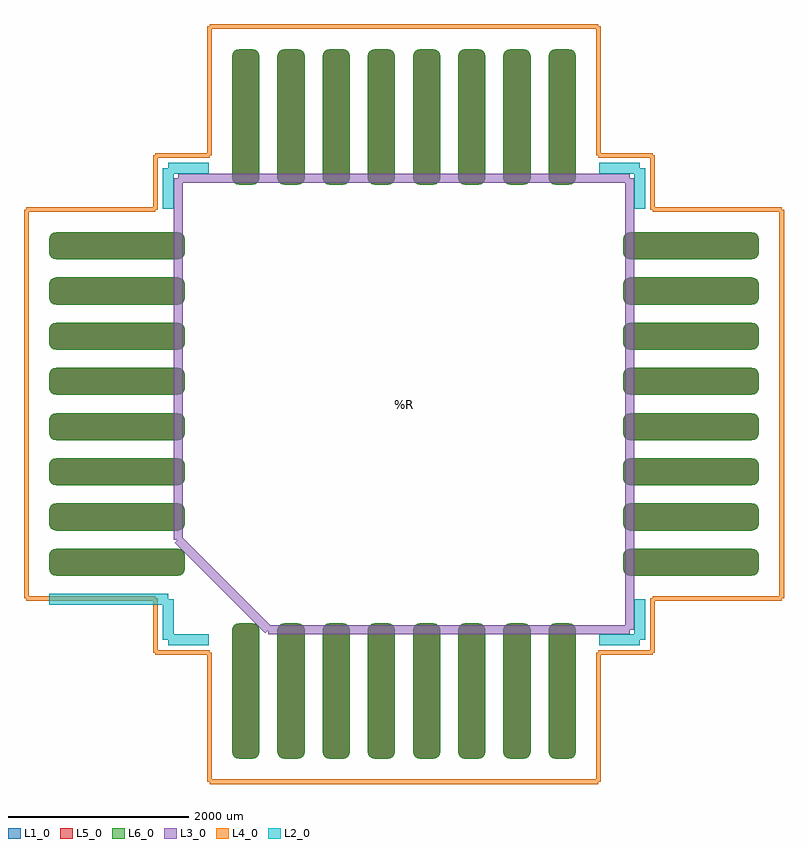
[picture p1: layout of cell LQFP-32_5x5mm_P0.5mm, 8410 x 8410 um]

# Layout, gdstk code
import gdstk
lib = gdstk.Library(unit=1e-6, precision=1e-09)
def P(c, l, *ps):  # polygons
    for p in ps: c.add(gdstk.Polygon(p, *l))
L1_0 = (1, 0)
L2_0 = (2, 0)
L3_0 = (3, 0)
L4_0 = (4, 0)
L5_0 = (5, 0)
L6_0 = (6, 0)

lqfp_32_5x5mm_p0_5mm = lib.new_cell('LQFP-32_5x5mm_P0.5mm')
P(lqfp_32_5x5mm_p0_5mm, L1_0, [(-2500,-1900),(-2471,-1894),(-2447,-1878),(-2431,-1854),(-2425,-1825),(-2425,-1675),(-2431,-1646),(-2447,-1622),(-2471,-1606),(-2500,-1600),(-3850,-1600),(-3879,-1606),(-3903,-1622),(-3919,-1646),(-3925,-1675),(-3925,-1825),(-3919,-1854),(-3903,-1878),(-3879,-1894),(-3850,-1900)],
  [(-2500,-1400),(-2471,-1394),(-2447,-1378),(-2431,-1354),(-2425,-1325),(-2425,-1175),(-2431,-1146),(-2447,-1122),(-2471,-1106),(-2500,-1100),(-3850,-1100),(-3879,-1106),(-3903,-1122),(-3919,-1146),(-3925,-1175),(-3925,-1325),(-3919,-1354),(-3903,-1378),(-3879,-1394),(-3850,-1400)],
  [(-2500,-900),(-2471,-894),(-2447,-878),(-2431,-854),(-2425,-825),(-2425,-675),(-2431,-646),(-2447,-622),(-2471,-606),(-2500,-600),(-3850,-600),(-3879,-606),(-3903,-622),(-3919,-646),(-3925,-675),(-3925,-825),(-3919,-854),(-3903,-878),(-3879,-894),(-3850,-900)],
  [(-2500,-400),(-2471,-394),(-2447,-378),(-2431,-354),(-2425,-325),(-2425,-175),(-2431,-146),(-2447,-122),(-2471,-106),(-2500,-100),(-3850,-100),(-3879,-106),(-3903,-122),(-3919,-146),(-3925,-175),(-3925,-325),(-3919,-354),(-3903,-378),(-3879,-394),(-3850,-400)],
  [(-2500,100),(-2471,106),(-2447,122),(-2431,146),(-2425,175),(-2425,325),(-2431,354),(-2447,378),(-2471,394),(-2500,400),(-3850,400),(-3879,394),(-3903,378),(-3919,354),(-3925,325),(-3925,175),(-3919,146),(-3903,122),(-3879,106),(-3850,100)],
  [(-2500,600),(-2471,606),(-2447,622),(-2431,646),(-2425,675),(-2425,825),(-2431,854),(-2447,878),(-2471,894),(-2500,900),(-3850,900),(-3879,894),(-3903,878),(-3919,854),(-3925,825),(-3925,675),(-3919,646),(-3903,622),(-3879,606),(-3850,600)],
  [(-2500,1100),(-2471,1106),(-2447,1122),(-2431,1146),(-2425,1175),(-2425,1325),(-2431,1354),(-2447,1378),(-2471,1394),(-2500,1400),(-3850,1400),(-3879,1394),(-3903,1378),(-3919,1354),(-3925,1325),(-3925,1175),(-3919,1146),(-3903,1122),(-3879,1106),(-3850,1100)],
  [(-2500,1600),(-2471,1606),(-2447,1622),(-2431,1646),(-2425,1675),(-2425,1825),(-2431,1854),(-2447,1878),(-2471,1894),(-2500,1900),(-3850,1900),(-3879,1894),(-3903,1878),(-3919,1854),(-3925,1825),(-3925,1675),(-3919,1646),(-3903,1622),(-3879,1606),(-3850,1600)],
  [(-1675,2425),(-1646,2431),(-1622,2447),(-1606,2471),(-1600,2500),(-1600,3850),(-1606,3879),(-1622,3903),(-1646,3919),(-1675,3925),(-1825,3925),(-1854,3919),(-1878,3903),(-1894,3879),(-1900,3850),(-1900,2500),(-1894,2471),(-1878,2447),(-1854,2431),(-1825,2425)],
  [(-1175,2425),(-1146,2431),(-1122,2447),(-1106,2471),(-1100,2500),(-1100,3850),(-1106,3879),(-1122,3903),(-1146,3919),(-1175,3925),(-1325,3925),(-1354,3919),(-1378,3903),(-1394,3879),(-1400,3850),(-1400,2500),(-1394,2471),(-1378,2447),(-1354,2431),(-1325,2425)],
  [(-675,2425),(-646,2431),(-622,2447),(-606,2471),(-600,2500),(-600,3850),(-606,3879),(-622,3903),(-646,3919),(-675,3925),(-825,3925),(-854,3919),(-878,3903),(-894,3879),(-900,3850),(-900,2500),(-894,2471),(-878,2447),(-854,2431),(-825,2425)],
  [(-175,2425),(-146,2431),(-122,2447),(-106,2471),(-100,2500),(-100,3850),(-106,3879),(-122,3903),(-146,3919),(-175,3925),(-325,3925),(-354,3919),(-378,3903),(-394,3879),(-400,3850),(-400,2500),(-394,2471),(-378,2447),(-354,2431),(-325,2425)],
  [(325,2425),(354,2431),(378,2447),(394,2471),(400,2500),(400,3850),(394,3879),(378,3903),(354,3919),(325,3925),(175,3925),(146,3919),(122,3903),(106,3879),(100,3850),(100,2500),(106,2471),(122,2447),(146,2431),(175,2425)],
  [(825,2425),(854,2431),(878,2447),(894,2471),(900,2500),(900,3850),(894,3879),(878,3903),(854,3919),(825,3925),(675,3925),(646,3919),(622,3903),(606,3879),(600,3850),(600,2500),(606,2471),(622,2447),(646,2431),(675,2425)],
  [(1325,2425),(1354,2431),(1378,2447),(1394,2471),(1400,2500),(1400,3850),(1394,3879),(1378,3903),(1354,3919),(1325,3925),(1175,3925),(1146,3919),(1122,3903),(1106,3879),(1100,3850),(1100,2500),(1106,2471),(1122,2447),(1146,2431),(1175,2425)],
  [(1825,2425),(1854,2431),(1878,2447),(1894,2471),(1900,2500),(1900,3850),(1894,3879),(1878,3903),(1854,3919),(1825,3925),(1675,3925),(1646,3919),(1622,3903),(1606,3879),(1600,3850),(1600,2500),(1606,2471),(1622,2447),(1646,2431),(1675,2425)],
  [(3850,1600),(3879,1606),(3903,1622),(3919,1646),(3925,1675),(3925,1825),(3919,1854),(3903,1878),(3879,1894),(3850,1900),(2500,1900),(2471,1894),(2447,1878),(2431,1854),(2425,1825),(2425,1675),(2431,1646),(2447,1622),(2471,1606),(2500,1600)],
  [(3850,1100),(3879,1106),(3903,1122),(3919,1146),(3925,1175),(3925,1325),(3919,1354),(3903,1378),(3879,1394),(3850,1400),(2500,1400),(2471,1394),(2447,1378),(2431,1354),(2425,1325),(2425,1175),(2431,1146),(2447,1122),(2471,1106),(2500,1100)],
  [(3850,600),(3879,606),(3903,622),(3919,646),(3925,675),(3925,825),(3919,854),(3903,878),(3879,894),(3850,900),(2500,900),(2471,894),(2447,878),(2431,854),(2425,825),(2425,675),(2431,646),(2447,622),(2471,606),(2500,600)],
  [(3850,100),(3879,106),(3903,122),(3919,146),(3925,175),(3925,325),(3919,354),(3903,378),(3879,394),(3850,400),(2500,400),(2471,394),(2447,378),(2431,354),(2425,325),(2425,175),(2431,146),(2447,122),(2471,106),(2500,100)],
  [(3850,-400),(3879,-394),(3903,-378),(3919,-354),(3925,-325),(3925,-175),(3919,-146),(3903,-122),(3879,-106),(3850,-100),(2500,-100),(2471,-106),(2447,-122),(2431,-146),(2425,-175),(2425,-325),(2431,-354),(2447,-378),(2471,-394),(2500,-400)],
  [(3850,-900),(3879,-894),(3903,-878),(3919,-854),(3925,-825),(3925,-675),(3919,-646),(3903,-622),(3879,-606),(3850,-600),(2500,-600),(2471,-606),(2447,-622),(2431,-646),(2425,-675),(2425,-825),(2431,-854),(2447,-878),(2471,-894),(2500,-900)],
  [(3850,-1400),(3879,-1394),(3903,-1378),(3919,-1354),(3925,-1325),(3925,-1175),(3919,-1146),(3903,-1122),(3879,-1106),(3850,-1100),(2500,-1100),(2471,-1106),(2447,-1122),(2431,-1146),(2425,-1175),(2425,-1325),(2431,-1354),(2447,-1378),(2471,-1394),(2500,-1400)],
  [(3850,-1900),(3879,-1894),(3903,-1878),(3919,-1854),(3925,-1825),(3925,-1675),(3919,-1646),(3903,-1622),(3879,-1606),(3850,-1600),(2500,-1600),(2471,-1606),(2447,-1622),(2431,-1646),(2425,-1675),(2425,-1825),(2431,-1854),(2447,-1878),(2471,-1894),(2500,-1900)],
  [(1825,-3925),(1854,-3919),(1878,-3903),(1894,-3879),(1900,-3850),(1900,-2500),(1894,-2471),(1878,-2447),(1854,-2431),(1825,-2425),(1675,-2425),(1646,-2431),(1622,-2447),(1606,-2471),(1600,-2500),(1600,-3850),(1606,-3879),(1622,-3903),(1646,-3919),(1675,-3925)],
  [(1325,-3925),(1354,-3919),(1378,-3903),(1394,-3879),(1400,-3850),(1400,-2500),(1394,-2471),(1378,-2447),(1354,-2431),(1325,-2425),(1175,-2425),(1146,-2431),(1122,-2447),(1106,-2471),(1100,-2500),(1100,-3850),(1106,-3879),(1122,-3903),(1146,-3919),(1175,-3925)],
  [(825,-3925),(854,-3919),(878,-3903),(894,-3879),(900,-3850),(900,-2500),(894,-2471),(878,-2447),(854,-2431),(825,-2425),(675,-2425),(646,-2431),(622,-2447),(606,-2471),(600,-2500),(600,-3850),(606,-3879),(622,-3903),(646,-3919),(675,-3925)],
  [(325,-3925),(354,-3919),(378,-3903),(394,-3879),(400,-3850),(400,-2500),(394,-2471),(378,-2447),(354,-2431),(325,-2425),(175,-2425),(146,-2431),(122,-2447),(106,-2471),(100,-2500),(100,-3850),(106,-3879),(122,-3903),(146,-3919),(175,-3925)],
  [(-175,-3925),(-146,-3919),(-122,-3903),(-106,-3879),(-100,-3850),(-100,-2500),(-106,-2471),(-122,-2447),(-146,-2431),(-175,-2425),(-325,-2425),(-354,-2431),(-378,-2447),(-394,-2471),(-400,-2500),(-400,-3850),(-394,-3879),(-378,-3903),(-354,-3919),(-325,-3925)],
  [(-675,-3925),(-646,-3919),(-622,-3903),(-606,-3879),(-600,-3850),(-600,-2500),(-606,-2471),(-622,-2447),(-646,-2431),(-675,-2425),(-825,-2425),(-854,-2431),(-878,-2447),(-894,-2471),(-900,-2500),(-900,-3850),(-894,-3879),(-878,-3903),(-854,-3919),(-825,-3925)],
  [(-1175,-3925),(-1146,-3919),(-1122,-3903),(-1106,-3879),(-1100,-3850),(-1100,-2500),(-1106,-2471),(-1122,-2447),(-1146,-2431),(-1175,-2425),(-1325,-2425),(-1354,-2431),(-1378,-2447),(-1394,-2471),(-1400,-2500),(-1400,-3850),(-1394,-3879),(-1378,-3903),(-1354,-3919),(-1325,-3925)],
  [(-1675,-3925),(-1646,-3919),(-1622,-3903),(-1606,-3879),(-1600,-3850),(-1600,-2500),(-1606,-2471),(-1622,-2447),(-1646,-2431),(-1675,-2425),(-1825,-2425),(-1854,-2431),(-1878,-2447),(-1894,-2471),(-1900,-2500),(-1900,-3850),(-1894,-3879),(-1878,-3903),(-1854,-3919),(-1825,-3925)])
P(lqfp_32_5x5mm_p0_5mm, L5_0, [(-2500,-1900),(-2471,-1894),(-2447,-1878),(-2431,-1854),(-2425,-1825),(-2425,-1675),(-2431,-1646),(-2447,-1622),(-2471,-1606),(-2500,-1600),(-3850,-1600),(-3879,-1606),(-3903,-1622),(-3919,-1646),(-3925,-1675),(-3925,-1825),(-3919,-1854),(-3903,-1878),(-3879,-1894),(-3850,-1900)],
  [(-2500,-1400),(-2471,-1394),(-2447,-1378),(-2431,-1354),(-2425,-1325),(-2425,-1175),(-2431,-1146),(-2447,-1122),(-2471,-1106),(-2500,-1100),(-3850,-1100),(-3879,-1106),(-3903,-1122),(-3919,-1146),(-3925,-1175),(-3925,-1325),(-3919,-1354),(-3903,-1378),(-3879,-1394),(-3850,-1400)],
  [(-2500,-900),(-2471,-894),(-2447,-878),(-2431,-854),(-2425,-825),(-2425,-675),(-2431,-646),(-2447,-622),(-2471,-606),(-2500,-600),(-3850,-600),(-3879,-606),(-3903,-622),(-3919,-646),(-3925,-675),(-3925,-825),(-3919,-854),(-3903,-878),(-3879,-894),(-3850,-900)],
  [(-2500,-400),(-2471,-394),(-2447,-378),(-2431,-354),(-2425,-325),(-2425,-175),(-2431,-146),(-2447,-122),(-2471,-106),(-2500,-100),(-3850,-100),(-3879,-106),(-3903,-122),(-3919,-146),(-3925,-175),(-3925,-325),(-3919,-354),(-3903,-378),(-3879,-394),(-3850,-400)],
  [(-2500,100),(-2471,106),(-2447,122),(-2431,146),(-2425,175),(-2425,325),(-2431,354),(-2447,378),(-2471,394),(-2500,400),(-3850,400),(-3879,394),(-3903,378),(-3919,354),(-3925,325),(-3925,175),(-3919,146),(-3903,122),(-3879,106),(-3850,100)],
  [(-2500,600),(-2471,606),(-2447,622),(-2431,646),(-2425,675),(-2425,825),(-2431,854),(-2447,878),(-2471,894),(-2500,900),(-3850,900),(-3879,894),(-3903,878),(-3919,854),(-3925,825),(-3925,675),(-3919,646),(-3903,622),(-3879,606),(-3850,600)],
  [(-2500,1100),(-2471,1106),(-2447,1122),(-2431,1146),(-2425,1175),(-2425,1325),(-2431,1354),(-2447,1378),(-2471,1394),(-2500,1400),(-3850,1400),(-3879,1394),(-3903,1378),(-3919,1354),(-3925,1325),(-3925,1175),(-3919,1146),(-3903,1122),(-3879,1106),(-3850,1100)],
  [(-2500,1600),(-2471,1606),(-2447,1622),(-2431,1646),(-2425,1675),(-2425,1825),(-2431,1854),(-2447,1878),(-2471,1894),(-2500,1900),(-3850,1900),(-3879,1894),(-3903,1878),(-3919,1854),(-3925,1825),(-3925,1675),(-3919,1646),(-3903,1622),(-3879,1606),(-3850,1600)],
  [(-1675,2425),(-1646,2431),(-1622,2447),(-1606,2471),(-1600,2500),(-1600,3850),(-1606,3879),(-1622,3903),(-1646,3919),(-1675,3925),(-1825,3925),(-1854,3919),(-1878,3903),(-1894,3879),(-1900,3850),(-1900,2500),(-1894,2471),(-1878,2447),(-1854,2431),(-1825,2425)],
  [(-1175,2425),(-1146,2431),(-1122,2447),(-1106,2471),(-1100,2500),(-1100,3850),(-1106,3879),(-1122,3903),(-1146,3919),(-1175,3925),(-1325,3925),(-1354,3919),(-1378,3903),(-1394,3879),(-1400,3850),(-1400,2500),(-1394,2471),(-1378,2447),(-1354,2431),(-1325,2425)],
  [(-675,2425),(-646,2431),(-622,2447),(-606,2471),(-600,2500),(-600,3850),(-606,3879),(-622,3903),(-646,3919),(-675,3925),(-825,3925),(-854,3919),(-878,3903),(-894,3879),(-900,3850),(-900,2500),(-894,2471),(-878,2447),(-854,2431),(-825,2425)],
  [(-175,2425),(-146,2431),(-122,2447),(-106,2471),(-100,2500),(-100,3850),(-106,3879),(-122,3903),(-146,3919),(-175,3925),(-325,3925),(-354,3919),(-378,3903),(-394,3879),(-400,3850),(-400,2500),(-394,2471),(-378,2447),(-354,2431),(-325,2425)],
  [(325,2425),(354,2431),(378,2447),(394,2471),(400,2500),(400,3850),(394,3879),(378,3903),(354,3919),(325,3925),(175,3925),(146,3919),(122,3903),(106,3879),(100,3850),(100,2500),(106,2471),(122,2447),(146,2431),(175,2425)],
  [(825,2425),(854,2431),(878,2447),(894,2471),(900,2500),(900,3850),(894,3879),(878,3903),(854,3919),(825,3925),(675,3925),(646,3919),(622,3903),(606,3879),(600,3850),(600,2500),(606,2471),(622,2447),(646,2431),(675,2425)],
  [(1325,2425),(1354,2431),(1378,2447),(1394,2471),(1400,2500),(1400,3850),(1394,3879),(1378,3903),(1354,3919),(1325,3925),(1175,3925),(1146,3919),(1122,3903),(1106,3879),(1100,3850),(1100,2500),(1106,2471),(1122,2447),(1146,2431),(1175,2425)],
  [(1825,2425),(1854,2431),(1878,2447),(1894,2471),(1900,2500),(1900,3850),(1894,3879),(1878,3903),(1854,3919),(1825,3925),(1675,3925),(1646,3919),(1622,3903),(1606,3879),(1600,3850),(1600,2500),(1606,2471),(1622,2447),(1646,2431),(1675,2425)],
  [(3850,1600),(3879,1606),(3903,1622),(3919,1646),(3925,1675),(3925,1825),(3919,1854),(3903,1878),(3879,1894),(3850,1900),(2500,1900),(2471,1894),(2447,1878),(2431,1854),(2425,1825),(2425,1675),(2431,1646),(2447,1622),(2471,1606),(2500,1600)],
  [(3850,1100),(3879,1106),(3903,1122),(3919,1146),(3925,1175),(3925,1325),(3919,1354),(3903,1378),(3879,1394),(3850,1400),(2500,1400),(2471,1394),(2447,1378),(2431,1354),(2425,1325),(2425,1175),(2431,1146),(2447,1122),(2471,1106),(2500,1100)],
  [(3850,600),(3879,606),(3903,622),(3919,646),(3925,675),(3925,825),(3919,854),(3903,878),(3879,894),(3850,900),(2500,900),(2471,894),(2447,878),(2431,854),(2425,825),(2425,675),(2431,646),(2447,622),(2471,606),(2500,600)],
  [(3850,100),(3879,106),(3903,122),(3919,146),(3925,175),(3925,325),(3919,354),(3903,378),(3879,394),(3850,400),(2500,400),(2471,394),(2447,378),(2431,354),(2425,325),(2425,175),(2431,146),(2447,122),(2471,106),(2500,100)],
  [(3850,-400),(3879,-394),(3903,-378),(3919,-354),(3925,-325),(3925,-175),(3919,-146),(3903,-122),(3879,-106),(3850,-100),(2500,-100),(2471,-106),(2447,-122),(2431,-146),(2425,-175),(2425,-325),(2431,-354),(2447,-378),(2471,-394),(2500,-400)],
  [(3850,-900),(3879,-894),(3903,-878),(3919,-854),(3925,-825),(3925,-675),(3919,-646),(3903,-622),(3879,-606),(3850,-600),(2500,-600),(2471,-606),(2447,-622),(2431,-646),(2425,-675),(2425,-825),(2431,-854),(2447,-878),(2471,-894),(2500,-900)],
  [(3850,-1400),(3879,-1394),(3903,-1378),(3919,-1354),(3925,-1325),(3925,-1175),(3919,-1146),(3903,-1122),(3879,-1106),(3850,-1100),(2500,-1100),(2471,-1106),(2447,-1122),(2431,-1146),(2425,-1175),(2425,-1325),(2431,-1354),(2447,-1378),(2471,-1394),(2500,-1400)],
  [(3850,-1900),(3879,-1894),(3903,-1878),(3919,-1854),(3925,-1825),(3925,-1675),(3919,-1646),(3903,-1622),(3879,-1606),(3850,-1600),(2500,-1600),(2471,-1606),(2447,-1622),(2431,-1646),(2425,-1675),(2425,-1825),(2431,-1854),(2447,-1878),(2471,-1894),(2500,-1900)],
  [(1825,-3925),(1854,-3919),(1878,-3903),(1894,-3879),(1900,-3850),(1900,-2500),(1894,-2471),(1878,-2447),(1854,-2431),(1825,-2425),(1675,-2425),(1646,-2431),(1622,-2447),(1606,-2471),(1600,-2500),(1600,-3850),(1606,-3879),(1622,-3903),(1646,-3919),(1675,-3925)],
  [(1325,-3925),(1354,-3919),(1378,-3903),(1394,-3879),(1400,-3850),(1400,-2500),(1394,-2471),(1378,-2447),(1354,-2431),(1325,-2425),(1175,-2425),(1146,-2431),(1122,-2447),(1106,-2471),(1100,-2500),(1100,-3850),(1106,-3879),(1122,-3903),(1146,-3919),(1175,-3925)],
  [(825,-3925),(854,-3919),(878,-3903),(894,-3879),(900,-3850),(900,-2500),(894,-2471),(878,-2447),(854,-2431),(825,-2425),(675,-2425),(646,-2431),(622,-2447),(606,-2471),(600,-2500),(600,-3850),(606,-3879),(622,-3903),(646,-3919),(675,-3925)],
  [(325,-3925),(354,-3919),(378,-3903),(394,-3879),(400,-3850),(400,-2500),(394,-2471),(378,-2447),(354,-2431),(325,-2425),(175,-2425),(146,-2431),(122,-2447),(106,-2471),(100,-2500),(100,-3850),(106,-3879),(122,-3903),(146,-3919),(175,-3925)],
  [(-175,-3925),(-146,-3919),(-122,-3903),(-106,-3879),(-100,-3850),(-100,-2500),(-106,-2471),(-122,-2447),(-146,-2431),(-175,-2425),(-325,-2425),(-354,-2431),(-378,-2447),(-394,-2471),(-400,-2500),(-400,-3850),(-394,-3879),(-378,-3903),(-354,-3919),(-325,-3925)],
  [(-675,-3925),(-646,-3919),(-622,-3903),(-606,-3879),(-600,-3850),(-600,-2500),(-606,-2471),(-622,-2447),(-646,-2431),(-675,-2425),(-825,-2425),(-854,-2431),(-878,-2447),(-894,-2471),(-900,-2500),(-900,-3850),(-894,-3879),(-878,-3903),(-854,-3919),(-825,-3925)],
  [(-1175,-3925),(-1146,-3919),(-1122,-3903),(-1106,-3879),(-1100,-3850),(-1100,-2500),(-1106,-2471),(-1122,-2447),(-1146,-2431),(-1175,-2425),(-1325,-2425),(-1354,-2431),(-1378,-2447),(-1394,-2471),(-1400,-2500),(-1400,-3850),(-1394,-3879),(-1378,-3903),(-1354,-3919),(-1325,-3925)],
  [(-1675,-3925),(-1646,-3919),(-1622,-3903),(-1606,-3879),(-1600,-3850),(-1600,-2500),(-1606,-2471),(-1622,-2447),(-1646,-2431),(-1675,-2425),(-1825,-2425),(-1854,-2431),(-1878,-2447),(-1894,-2471),(-1900,-2500),(-1900,-3850),(-1894,-3879),(-1878,-3903),(-1854,-3919),(-1825,-3925)])
P(lqfp_32_5x5mm_p0_5mm, L6_0, [(-2500,-1900),(-2471,-1894),(-2447,-1878),(-2431,-1854),(-2425,-1825),(-2425,-1675),(-2431,-1646),(-2447,-1622),(-2471,-1606),(-2500,-1600),(-3850,-1600),(-3879,-1606),(-3903,-1622),(-3919,-1646),(-3925,-1675),(-3925,-1825),(-3919,-1854),(-3903,-1878),(-3879,-1894),(-3850,-1900)],
  [(-2500,-1400),(-2471,-1394),(-2447,-1378),(-2431,-1354),(-2425,-1325),(-2425,-1175),(-2431,-1146),(-2447,-1122),(-2471,-1106),(-2500,-1100),(-3850,-1100),(-3879,-1106),(-3903,-1122),(-3919,-1146),(-3925,-1175),(-3925,-1325),(-3919,-1354),(-3903,-1378),(-3879,-1394),(-3850,-1400)],
  [(-2500,-900),(-2471,-894),(-2447,-878),(-2431,-854),(-2425,-825),(-2425,-675),(-2431,-646),(-2447,-622),(-2471,-606),(-2500,-600),(-3850,-600),(-3879,-606),(-3903,-622),(-3919,-646),(-3925,-675),(-3925,-825),(-3919,-854),(-3903,-878),(-3879,-894),(-3850,-900)],
  [(-2500,-400),(-2471,-394),(-2447,-378),(-2431,-354),(-2425,-325),(-2425,-175),(-2431,-146),(-2447,-122),(-2471,-106),(-2500,-100),(-3850,-100),(-3879,-106),(-3903,-122),(-3919,-146),(-3925,-175),(-3925,-325),(-3919,-354),(-3903,-378),(-3879,-394),(-3850,-400)],
  [(-2500,100),(-2471,106),(-2447,122),(-2431,146),(-2425,175),(-2425,325),(-2431,354),(-2447,378),(-2471,394),(-2500,400),(-3850,400),(-3879,394),(-3903,378),(-3919,354),(-3925,325),(-3925,175),(-3919,146),(-3903,122),(-3879,106),(-3850,100)],
  [(-2500,600),(-2471,606),(-2447,622),(-2431,646),(-2425,675),(-2425,825),(-2431,854),(-2447,878),(-2471,894),(-2500,900),(-3850,900),(-3879,894),(-3903,878),(-3919,854),(-3925,825),(-3925,675),(-3919,646),(-3903,622),(-3879,606),(-3850,600)],
  [(-2500,1100),(-2471,1106),(-2447,1122),(-2431,1146),(-2425,1175),(-2425,1325),(-2431,1354),(-2447,1378),(-2471,1394),(-2500,1400),(-3850,1400),(-3879,1394),(-3903,1378),(-3919,1354),(-3925,1325),(-3925,1175),(-3919,1146),(-3903,1122),(-3879,1106),(-3850,1100)],
  [(-2500,1600),(-2471,1606),(-2447,1622),(-2431,1646),(-2425,1675),(-2425,1825),(-2431,1854),(-2447,1878),(-2471,1894),(-2500,1900),(-3850,1900),(-3879,1894),(-3903,1878),(-3919,1854),(-3925,1825),(-3925,1675),(-3919,1646),(-3903,1622),(-3879,1606),(-3850,1600)],
  [(-1675,2425),(-1646,2431),(-1622,2447),(-1606,2471),(-1600,2500),(-1600,3850),(-1606,3879),(-1622,3903),(-1646,3919),(-1675,3925),(-1825,3925),(-1854,3919),(-1878,3903),(-1894,3879),(-1900,3850),(-1900,2500),(-1894,2471),(-1878,2447),(-1854,2431),(-1825,2425)],
  [(-1175,2425),(-1146,2431),(-1122,2447),(-1106,2471),(-1100,2500),(-1100,3850),(-1106,3879),(-1122,3903),(-1146,3919),(-1175,3925),(-1325,3925),(-1354,3919),(-1378,3903),(-1394,3879),(-1400,3850),(-1400,2500),(-1394,2471),(-1378,2447),(-1354,2431),(-1325,2425)],
  [(-675,2425),(-646,2431),(-622,2447),(-606,2471),(-600,2500),(-600,3850),(-606,3879),(-622,3903),(-646,3919),(-675,3925),(-825,3925),(-854,3919),(-878,3903),(-894,3879),(-900,3850),(-900,2500),(-894,2471),(-878,2447),(-854,2431),(-825,2425)],
  [(-175,2425),(-146,2431),(-122,2447),(-106,2471),(-100,2500),(-100,3850),(-106,3879),(-122,3903),(-146,3919),(-175,3925),(-325,3925),(-354,3919),(-378,3903),(-394,3879),(-400,3850),(-400,2500),(-394,2471),(-378,2447),(-354,2431),(-325,2425)],
  [(325,2425),(354,2431),(378,2447),(394,2471),(400,2500),(400,3850),(394,3879),(378,3903),(354,3919),(325,3925),(175,3925),(146,3919),(122,3903),(106,3879),(100,3850),(100,2500),(106,2471),(122,2447),(146,2431),(175,2425)],
  [(825,2425),(854,2431),(878,2447),(894,2471),(900,2500),(900,3850),(894,3879),(878,3903),(854,3919),(825,3925),(675,3925),(646,3919),(622,3903),(606,3879),(600,3850),(600,2500),(606,2471),(622,2447),(646,2431),(675,2425)],
  [(1325,2425),(1354,2431),(1378,2447),(1394,2471),(1400,2500),(1400,3850),(1394,3879),(1378,3903),(1354,3919),(1325,3925),(1175,3925),(1146,3919),(1122,3903),(1106,3879),(1100,3850),(1100,2500),(1106,2471),(1122,2447),(1146,2431),(1175,2425)],
  [(1825,2425),(1854,2431),(1878,2447),(1894,2471),(1900,2500),(1900,3850),(1894,3879),(1878,3903),(1854,3919),(1825,3925),(1675,3925),(1646,3919),(1622,3903),(1606,3879),(1600,3850),(1600,2500),(1606,2471),(1622,2447),(1646,2431),(1675,2425)],
  [(3850,1600),(3879,1606),(3903,1622),(3919,1646),(3925,1675),(3925,1825),(3919,1854),(3903,1878),(3879,1894),(3850,1900),(2500,1900),(2471,1894),(2447,1878),(2431,1854),(2425,1825),(2425,1675),(2431,1646),(2447,1622),(2471,1606),(2500,1600)],
  [(3850,1100),(3879,1106),(3903,1122),(3919,1146),(3925,1175),(3925,1325),(3919,1354),(3903,1378),(3879,1394),(3850,1400),(2500,1400),(2471,1394),(2447,1378),(2431,1354),(2425,1325),(2425,1175),(2431,1146),(2447,1122),(2471,1106),(2500,1100)],
  [(3850,600),(3879,606),(3903,622),(3919,646),(3925,675),(3925,825),(3919,854),(3903,878),(3879,894),(3850,900),(2500,900),(2471,894),(2447,878),(2431,854),(2425,825),(2425,675),(2431,646),(2447,622),(2471,606),(2500,600)],
  [(3850,100),(3879,106),(3903,122),(3919,146),(3925,175),(3925,325),(3919,354),(3903,378),(3879,394),(3850,400),(2500,400),(2471,394),(2447,378),(2431,354),(2425,325),(2425,175),(2431,146),(2447,122),(2471,106),(2500,100)],
  [(3850,-400),(3879,-394),(3903,-378),(3919,-354),(3925,-325),(3925,-175),(3919,-146),(3903,-122),(3879,-106),(3850,-100),(2500,-100),(2471,-106),(2447,-122),(2431,-146),(2425,-175),(2425,-325),(2431,-354),(2447,-378),(2471,-394),(2500,-400)],
  [(3850,-900),(3879,-894),(3903,-878),(3919,-854),(3925,-825),(3925,-675),(3919,-646),(3903,-622),(3879,-606),(3850,-600),(2500,-600),(2471,-606),(2447,-622),(2431,-646),(2425,-675),(2425,-825),(2431,-854),(2447,-878),(2471,-894),(2500,-900)],
  [(3850,-1400),(3879,-1394),(3903,-1378),(3919,-1354),(3925,-1325),(3925,-1175),(3919,-1146),(3903,-1122),(3879,-1106),(3850,-1100),(2500,-1100),(2471,-1106),(2447,-1122),(2431,-1146),(2425,-1175),(2425,-1325),(2431,-1354),(2447,-1378),(2471,-1394),(2500,-1400)],
  [(3850,-1900),(3879,-1894),(3903,-1878),(3919,-1854),(3925,-1825),(3925,-1675),(3919,-1646),(3903,-1622),(3879,-1606),(3850,-1600),(2500,-1600),(2471,-1606),(2447,-1622),(2431,-1646),(2425,-1675),(2425,-1825),(2431,-1854),(2447,-1878),(2471,-1894),(2500,-1900)],
  [(1825,-3925),(1854,-3919),(1878,-3903),(1894,-3879),(1900,-3850),(1900,-2500),(1894,-2471),(1878,-2447),(1854,-2431),(1825,-2425),(1675,-2425),(1646,-2431),(1622,-2447),(1606,-2471),(1600,-2500),(1600,-3850),(1606,-3879),(1622,-3903),(1646,-3919),(1675,-3925)],
  [(1325,-3925),(1354,-3919),(1378,-3903),(1394,-3879),(1400,-3850),(1400,-2500),(1394,-2471),(1378,-2447),(1354,-2431),(1325,-2425),(1175,-2425),(1146,-2431),(1122,-2447),(1106,-2471),(1100,-2500),(1100,-3850),(1106,-3879),(1122,-3903),(1146,-3919),(1175,-3925)],
  [(825,-3925),(854,-3919),(878,-3903),(894,-3879),(900,-3850),(900,-2500),(894,-2471),(878,-2447),(854,-2431),(825,-2425),(675,-2425),(646,-2431),(622,-2447),(606,-2471),(600,-2500),(600,-3850),(606,-3879),(622,-3903),(646,-3919),(675,-3925)],
  [(325,-3925),(354,-3919),(378,-3903),(394,-3879),(400,-3850),(400,-2500),(394,-2471),(378,-2447),(354,-2431),(325,-2425),(175,-2425),(146,-2431),(122,-2447),(106,-2471),(100,-2500),(100,-3850),(106,-3879),(122,-3903),(146,-3919),(175,-3925)],
  [(-175,-3925),(-146,-3919),(-122,-3903),(-106,-3879),(-100,-3850),(-100,-2500),(-106,-2471),(-122,-2447),(-146,-2431),(-175,-2425),(-325,-2425),(-354,-2431),(-378,-2447),(-394,-2471),(-400,-2500),(-400,-3850),(-394,-3879),(-378,-3903),(-354,-3919),(-325,-3925)],
  [(-675,-3925),(-646,-3919),(-622,-3903),(-606,-3879),(-600,-3850),(-600,-2500),(-606,-2471),(-622,-2447),(-646,-2431),(-675,-2425),(-825,-2425),(-854,-2431),(-878,-2447),(-894,-2471),(-900,-2500),(-900,-3850),(-894,-3879),(-878,-3903),(-854,-3919),(-825,-3925)],
  [(-1175,-3925),(-1146,-3919),(-1122,-3903),(-1106,-3879),(-1100,-3850),(-1100,-2500),(-1106,-2471),(-1122,-2447),(-1146,-2431),(-1175,-2425),(-1325,-2425),(-1354,-2431),(-1378,-2447),(-1394,-2471),(-1400,-2500),(-1400,-3850),(-1394,-3879),(-1378,-3903),(-1354,-3919),(-1325,-3925)],
  [(-1675,-3925),(-1646,-3919),(-1622,-3903),(-1606,-3879),(-1600,-3850),(-1600,-2500),(-1606,-2471),(-1622,-2447),(-1646,-2431),(-1675,-2425),(-1825,-2425),(-1854,-2431),(-1878,-2447),(-1894,-2471),(-1900,-2500),(-1900,-3850),(-1894,-3879),(-1878,-3903),(-1854,-3919),(-1825,-3925)])
lqfp_32_5x5mm_p0_5mm.add(gdstk.FlexPath([(2160,2610),(2610,2610)], 120, ends="flush", simple_path=True, layer=2, datatype=0))  # L2_0
lqfp_32_5x5mm_p0_5mm.add(gdstk.FlexPath([(2610,2610),(2610,2160)], 120, ends="flush", simple_path=True, layer=2, datatype=0))  # L2_0
lqfp_32_5x5mm_p0_5mm.add(gdstk.FlexPath([(-2160,2610),(-2610,2610)], 120, ends="flush", simple_path=True, layer=2, datatype=0))  # L2_0
lqfp_32_5x5mm_p0_5mm.add(gdstk.FlexPath([(-2610,2610),(-2610,2160)], 120, ends="flush", simple_path=True, layer=2, datatype=0))  # L2_0
lqfp_32_5x5mm_p0_5mm.add(gdstk.FlexPath([(2160,-2610),(2610,-2610)], 120, ends="flush", simple_path=True, layer=2, datatype=0))  # L2_0
lqfp_32_5x5mm_p0_5mm.add(gdstk.FlexPath([(2610,-2610),(2610,-2160)], 120, ends="flush", simple_path=True, layer=2, datatype=0))  # L2_0
lqfp_32_5x5mm_p0_5mm.add(gdstk.FlexPath([(-2160,-2610),(-2610,-2610)], 120, ends="flush", simple_path=True, layer=2, datatype=0))  # L2_0
lqfp_32_5x5mm_p0_5mm.add(gdstk.FlexPath([(-2610,-2610),(-2610,-2160)], 120, ends="flush", simple_path=True, layer=2, datatype=0))  # L2_0
lqfp_32_5x5mm_p0_5mm.add(gdstk.FlexPath([(-2610,-2160),(-3925,-2160)], 120, ends="flush", simple_path=True, layer=2, datatype=0))  # L2_0
lqfp_32_5x5mm_p0_5mm.add(gdstk.FlexPath([(-1500,-2500),(2500,-2500)], 100, ends="flush", simple_path=True, layer=3, datatype=0))  # L3_0
lqfp_32_5x5mm_p0_5mm.add(gdstk.FlexPath([(2500,-2500),(2500,2500)], 100, ends="flush", simple_path=True, layer=3, datatype=0))  # L3_0
lqfp_32_5x5mm_p0_5mm.add(gdstk.FlexPath([(2500,2500),(-2500,2500)], 100, ends="flush", simple_path=True, layer=3, datatype=0))  # L3_0
lqfp_32_5x5mm_p0_5mm.add(gdstk.FlexPath([(-2500,2500),(-2500,-1500)], 100, ends="flush", simple_path=True, layer=3, datatype=0))  # L3_0
lqfp_32_5x5mm_p0_5mm.add(gdstk.FlexPath([(-2500,-1500),(-1500,-2500)], 100, ends="flush", simple_path=True, layer=3, datatype=0))  # L3_0
lqfp_32_5x5mm_p0_5mm.add(gdstk.FlexPath([(0,-4180),(-2150,-4180)], 50, ends="flush", simple_path=True, layer=4, datatype=0))  # L4_0
lqfp_32_5x5mm_p0_5mm.add(gdstk.FlexPath([(-2150,-4180),(-2150,-2750)], 50, ends="flush", simple_path=True, layer=4, datatype=0))  # L4_0
lqfp_32_5x5mm_p0_5mm.add(gdstk.FlexPath([(-2150,-2750),(-2750,-2750)], 50, ends="flush", simple_path=True, layer=4, datatype=0))  # L4_0
lqfp_32_5x5mm_p0_5mm.add(gdstk.FlexPath([(-2750,-2750),(-2750,-2150)], 50, ends="flush", simple_path=True, layer=4, datatype=0))  # L4_0
lqfp_32_5x5mm_p0_5mm.add(gdstk.FlexPath([(-2750,-2150),(-4180,-2150)], 50, ends="flush", simple_path=True, layer=4, datatype=0))  # L4_0
lqfp_32_5x5mm_p0_5mm.add(gdstk.FlexPath([(-4180,-2150),(-4180,0)], 50, ends="flush", simple_path=True, layer=4, datatype=0))  # L4_0
lqfp_32_5x5mm_p0_5mm.add(gdstk.FlexPath([(0,-4180),(2150,-4180)], 50, ends="flush", simple_path=True, layer=4, datatype=0))  # L4_0
lqfp_32_5x5mm_p0_5mm.add(gdstk.FlexPath([(2150,-4180),(2150,-2750)], 50, ends="flush", simple_path=True, layer=4, datatype=0))  # L4_0
lqfp_32_5x5mm_p0_5mm.add(gdstk.FlexPath([(2150,-2750),(2750,-2750)], 50, ends="flush", simple_path=True, layer=4, datatype=0))  # L4_0
lqfp_32_5x5mm_p0_5mm.add(gdstk.FlexPath([(2750,-2750),(2750,-2150)], 50, ends="flush", simple_path=True, layer=4, datatype=0))  # L4_0
lqfp_32_5x5mm_p0_5mm.add(gdstk.FlexPath([(2750,-2150),(4180,-2150)], 50, ends="flush", simple_path=True, layer=4, datatype=0))  # L4_0
lqfp_32_5x5mm_p0_5mm.add(gdstk.FlexPath([(4180,-2150),(4180,0)], 50, ends="flush", simple_path=True, layer=4, datatype=0))  # L4_0
lqfp_32_5x5mm_p0_5mm.add(gdstk.FlexPath([(0,4180),(-2150,4180)], 50, ends="flush", simple_path=True, layer=4, datatype=0))  # L4_0
lqfp_32_5x5mm_p0_5mm.add(gdstk.FlexPath([(-2150,4180),(-2150,2750)], 50, ends="flush", simple_path=True, layer=4, datatype=0))  # L4_0
lqfp_32_5x5mm_p0_5mm.add(gdstk.FlexPath([(-2150,2750),(-2750,2750)], 50, ends="flush", simple_path=True, layer=4, datatype=0))  # L4_0
lqfp_32_5x5mm_p0_5mm.add(gdstk.FlexPath([(-2750,2750),(-2750,2150)], 50, ends="flush", simple_path=True, layer=4, datatype=0))  # L4_0
lqfp_32_5x5mm_p0_5mm.add(gdstk.FlexPath([(-2750,2150),(-4180,2150)], 50, ends="flush", simple_path=True, layer=4, datatype=0))  # L4_0
lqfp_32_5x5mm_p0_5mm.add(gdstk.FlexPath([(-4180,2150),(-4180,0)], 50, ends="flush", simple_path=True, layer=4, datatype=0))  # L4_0
lqfp_32_5x5mm_p0_5mm.add(gdstk.FlexPath([(0,4180),(2150,4180)], 50, ends="flush", simple_path=True, layer=4, datatype=0))  # L4_0
lqfp_32_5x5mm_p0_5mm.add(gdstk.FlexPath([(2150,4180),(2150,2750)], 50, ends="flush", simple_path=True, layer=4, datatype=0))  # L4_0
lqfp_32_5x5mm_p0_5mm.add(gdstk.FlexPath([(2150,2750),(2750,2750)], 50, ends="flush", simple_path=True, layer=4, datatype=0))  # L4_0
lqfp_32_5x5mm_p0_5mm.add(gdstk.FlexPath([(2750,2750),(2750,2150)], 50, ends="flush", simple_path=True, layer=4, datatype=0))  # L4_0
lqfp_32_5x5mm_p0_5mm.add(gdstk.FlexPath([(2750,2150),(4180,2150)], 50, ends="flush", simple_path=True, layer=4, datatype=0))  # L4_0
lqfp_32_5x5mm_p0_5mm.add(gdstk.FlexPath([(4180,2150),(4180,0)], 50, ends="flush", simple_path=True, layer=4, datatype=0))  # L4_0
lqfp_32_5x5mm_p0_5mm.add(gdstk.Label('REF**', (0,-4880), layer=2, texttype=0))
lqfp_32_5x5mm_p0_5mm.add(gdstk.Label('LQFP-32_5x5mm_P0.5mm', (0,4880), layer=3, texttype=0))
lqfp_32_5x5mm_p0_5mm.add(gdstk.Label('%R', (0,0), layer=3, texttype=0))

lib.write_gds('LQFP-32_5x5mm_P0.5mm.gds')
